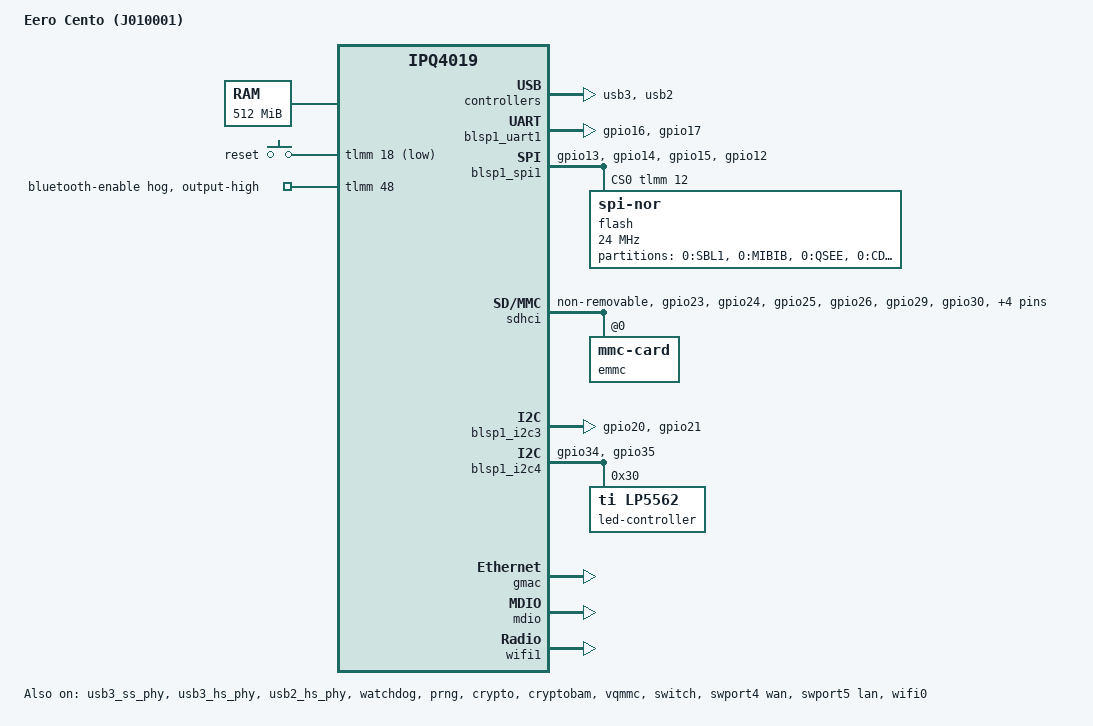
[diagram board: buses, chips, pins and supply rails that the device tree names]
// SPDX-License-Identifier: GPL-2.0-or-later OR MIT

#include "qcom-ipq4019.dtsi"
#include <dt-bindings/input/input.h>
#include <dt-bindings/gpio/gpio.h>
#include <dt-bindings/leds/common.h>
#include <dt-bindings/soc/qcom,tcsr.h>

/ {
	model = "Eero Cento (J010001)";
	compatible = "eero,cento";

	chosen {
		stdout-path = &blsp1_uart1;
	};

	aliases {
		led-boot = &led_status_white;
		led-failsafe = &led_status_red;
		led-running = &led_status_green;
		led-upgrade = &led_status_blue;
	};

	memory {
		device_type = "memory";
		reg = <0x80000000 0x20000000>;
	};

	keys {
		compatible = "gpio-keys";

		reset {
			label = "reset";
			gpios = <&tlmm 18 GPIO_ACTIVE_LOW>;
			linux,code = <KEY_RESTART>;
		};
	};

	tcsr@1949000 {
		compatible = "qcom,tcsr";
		reg = <0x1949000 0x100>;
		qcom,wifi_glb_cfg = <TCSR_WIFI_GLB_CFG>;
	};

	tcsr@194b000 {
		compatible = "qcom,tcsr";
		reg = <0x194b000 0x100>;
		qcom,usb-hsphy-mode-select = <TCSR_USB_HSPHY_HOST_MODE>;
	};

	ess_tcsr@1953000 {
		compatible = "qcom,tcsr";
		reg = <0x1953000 0x1000>;
		qcom,ess-interface-select = <TCSR_ESS_PSGMII>;
	};

	tcsr@1957000 {
		compatible = "qcom,tcsr";
		reg = <0x1957000 0x100>;
		qcom,wifi_noc_memtype_m0_m2 = <TCSR_WIFI_NOC_MEMTYPE_M0_M2>;
	};

};

&tlmm {
	serial_0_pins: serial0_pinmux {
		mux {
			pins = "gpio16", "gpio17";
			function = "blsp_uart0";
			bias-disable;
		};
	};

	spi_0_pins: spi_0_pinmux {
			pinmux {
					function = "blsp_spi0";
					pins = "gpio13", "gpio14", "gpio15";
			};

			pinmux_cs {
					function = "gpio";
					pins = "gpio12";
			};

			pinconf {
					pins = "gpio13", "gpio14", "gpio15";
					bias-disable;
			};

			pinconf_cs {
					pins = "gpio12";
					bias-disable;
					output-high;
			};
	};

	sd_0_pins: sd_0_pinmux {
		sd0 {
			function = "sdio";
			pins = "gpio23", "gpio24", "gpio25", "gpio26", "gpio29",
					"gpio30", "gpio31", "gpio32";
			drive-strength = <4>;
			bias-disable;
		};

		sdclk {
			pins = "gpio27";
			function = "sdio";
			drive-strength = <4>;
			bias-disable;
		};

		sdcmd {
			pins = "gpio28";
			function = "sdio";
			drive-strength = <4>;
			bias-disable;
		};
	};

	i2c_0_pins: i2c_0_pinmux {
		mux {
			pins = "gpio20", "gpio21";
			function = "blsp_i2c0";
			bias-disable;
		};
	};

	i2c_1_pins: i2c_1_pinmux {
		mux {
			pins = "gpio34", "gpio35";
			function = "blsp_i2c1";
			bias-disable;
		};
	};

	// cypress cyw20704 connected over usb
	bluetooth-enable {
		gpio-hog;
		gpios = <48 GPIO_ACTIVE_HIGH>;
		output-high;
	};
};

&usb3_ss_phy {
	status = "ok";
};

&usb3_hs_phy {
	status = "ok";
};

&usb3 {
	status = "ok";
};

&usb2_hs_phy {
	status = "ok";
};

&usb2 {
	status = "ok";
};

&blsp1_uart1 {
	status = "ok";

	pinctrl-0 = <&serial_0_pins>;
	pinctrl-names = "default";
};

&watchdog {
	status = "ok";
};

&prng {
	status = "ok";
};

&crypto {
	status = "ok";
};

&cryptobam {
	status = "ok";
};

&blsp_dma {
	status = "ok";
};

&blsp1_spi1 {
	status = "ok";

	pinctrl-0 = <&spi_0_pins>;
	pinctrl-names = "default";
	cs-gpios = <&tlmm 12 GPIO_ACTIVE_HIGH>;

	flash@0 {
		reg = <0>;
		compatible = "jedec,spi-nor";
		spi-max-frequency = <24000000>;

		partitions {
			compatible = "fixed-partitions";
			#address-cells = <1>;
			#size-cells = <1>;

			partition@0 {
				label = "0:SBL1";
				reg = <0x0 0x40000>;
				read-only;
			};

			partition@40000 {
				label = "0:MIBIB";
				reg = <0x40000 0x20000>;
				read-only;
			};

			partition@60000 {
				label = "0:QSEE";
				reg = <0x60000 0x60000>;
				read-only;
			};

			partition@c0000 {
				label = "0:CDT";
				reg = <0xc0000 0x10000>;
				read-only;
			};

			partition@d0000 {
				label = "0:DDRPARAMS";
				reg = <0xd0000 0x10000>;
				read-only;
			};

			partition@e0000 {
				label = "0:ART";
				reg = <0xe0000 0x10000>;
				read-only;
			};

			partition@f0000 {
				label = "0:APPSBL";
				reg = <0xf0000 0x100000>;
				read-only;
			};

			partition@1f0000 {
				label = "0:IDENTITY";
				reg = <0x1f0000 0x10000>;
				read-only;
			};

			partition@200000 {
				label = "0:PK";
				reg = <0x200000 0x10000>;
				read-only;
			};

			partition@210000 {
				label = "0:APPSBLENV";
				reg = <0x210000 0x20000>;
				// r/w allowed because installation needs to modify u-boot env
			};

			partition@230000 {
				label = "0:SYSVAR";
				reg = <0x230000 0x10000>;
				read-only;
			};
		};
	};
};

&vqmmc {
	status = "ok";
};

&sdhci {
	status = "ok";

	pinctrl-0 = <&sd_0_pins>;
	pinctrl-names = "default";
	vqmmc-supply = <&vqmmc>;
	non-removable;
	no-1-8-v;
	#address-cells = <1>;
	#size-cells = <0>;

	emmc@0 {
		compatible = "mmc-card";
		reg = <0>;
	};
};

&blsp1_i2c3 {
	status = "ok";

	pinctrl-0 = <&i2c_0_pins>;
	pinctrl-names = "default";
};

&blsp1_i2c4 {
	status = "ok";

	pinctrl-0 = <&i2c_1_pins>;
	pinctrl-names = "default";

	led-controller@30 {
		compatible = "ti,lp5562";
		reg = <0x30>;
		clock-mode = /bits/ 8 <2>;
		skip-reset;

		#address-cells = <1>;
		#size-cells = <0>;

		// current limits from stock dt

		led_status_red: led@0 {
			chan-name = "red:status";
			led-cur = /bits/ 8 <0xB4>; /* 18.0 mA */
			max-cur = /bits/ 8 <0xFF>; /* 25.5 mA */
			reg = <0>;
			color = <LED_COLOR_ID_RED>;
		};

		led_status_green: led@1 {
			chan-name = "green:status";
			led-cur = /bits/ 8 <0xB4>; /* 18.0 mA */
			max-cur = /bits/ 8 <0xC8>; /* 20.0 mA */
			reg = <1>;
			color = <LED_COLOR_ID_GREEN>;
		};

		led_status_blue: led@2 {
			chan-name = "blue:status";
			led-cur = /bits/ 8 <0xC8>; /* 20.0 mA */
			max-cur = /bits/ 8 <0xC8>; /* 20.0 mA */
			reg = <2>;
			color = <LED_COLOR_ID_BLUE>;
		};

		led_status_white: led@3 {
			chan-name = "white:status";
			led-cur = /bits/ 8 <0x96>; /* 15.0 mA */
			max-cur = /bits/ 8 <0x96>; /* 15.0 mA */
			reg = <3>;
			color = <LED_COLOR_ID_WHITE>;
		};
	};
};

&gmac {
	status = "ok";
};

&mdio {
	status = "ok";
};

&switch {
	status = "ok";
};

&swport4 {
	status = "ok";

	label = "wan"; //arbitrary, no marking
};

&swport5 {
	status = "ok";

	label = "lan"; //arbitrary, no marking
};

&wifi0 {
	status = "ok";

	qcom,ath10k-calibration-variant = "Eero-Cento";
	qcom,coexist-support = <1>;
	qcom,coexist-gpio-pin = <52>;
};

&wifi1 {
	status = "ok";

	qcom,ath10k-calibration-variant = "Eero-Cento";
};
